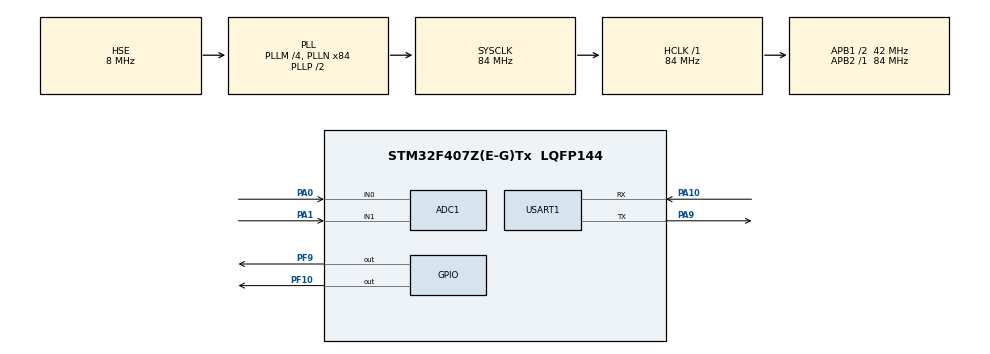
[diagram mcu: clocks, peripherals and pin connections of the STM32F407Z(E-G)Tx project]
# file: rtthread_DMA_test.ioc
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ADC1.Channel-0\#ChannelRegularConversion=ADC_CHANNEL_0
ADC1.Channel-1\#ChannelRegularConversion=ADC_CHANNEL_1
ADC1.ContinuousConvMode=ENABLE
ADC1.DMAContinuousRequests=ENABLE
ADC1.EOCSelection=ADC_EOC_SEQ_CONV
ADC1.NbrOfConversion=2
ADC1.NbrOfConversionFlag=1
ADC1.Rank-0\#ChannelRegularConversion=1
ADC1.Rank-1\#ChannelRegularConversion=2
ADC1.SamplingTime-0\#ChannelRegularConversion=ADC_SAMPLETIME_3CYCLES
ADC1.SamplingTime-1\#ChannelRegularConversion=ADC_SAMPLETIME_3CYCLES
ADC1.ScanConvMode=ENABLE
ADC1.master=1
Dma.ADC1.0.Direction=DMA_PERIPH_TO_MEMORY
Dma.ADC1.0.FIFOMode=DMA_FIFOMODE_DISABLE
Dma.ADC1.0.Instance=DMA2_Stream0
Dma.ADC1.0.MemDataAlignment=DMA_MDATAALIGN_WORD
Dma.ADC1.0.MemInc=DMA_MINC_ENABLE
Dma.ADC1.0.Mode=DMA_NORMAL
Dma.ADC1.0.PeriphDataAlignment=DMA_PDATAALIGN_WORD
Dma.ADC1.0.PeriphInc=DMA_PINC_DISABLE
Dma.ADC1.0.Priority=DMA_PRIORITY_LOW
Dma.Request0=ADC1
Dma.Request1=USART1_RX
Dma.USART1_RX.1.Direction=DMA_PERIPH_TO_MEMORY
Dma.USART1_RX.1.FIFOMode=DMA_FIFOMODE_DISABLE
Dma.USART1_RX.1.Instance=DMA2_Stream2
Dma.USART1_RX.1.MemDataAlignment=DMA_MDATAALIGN_BYTE
Dma.USART1_RX.1.MemInc=DMA_MINC_ENABLE
Dma.USART1_RX.1.Mode=DMA_CIRCULAR
Dma.USART1_RX.1.PeriphDataAlignment=DMA_PDATAALIGN_BYTE
Dma.USART1_RX.1.PeriphInc=DMA_PINC_DISABLE
Dma.USART1_RX.1.Priority=DMA_PRIORITY_LOW
Mcu.Family=STM32F4
Mcu.Name=STM32F407Z(E-G)Tx
Mcu.Package=LQFP144
NVIC.ADC_IRQn=true\:0\:0\:false\:false\:true\:true\:true
NVIC.DMA2_Stream0_IRQn=true\:0\:0\:false\:false\:true\:false\:true
NVIC.DMA2_Stream2_IRQn=true\:0\:0\:false\:false\:true\:false\:true
NVIC.PriorityGroup=NVIC_PRIORITYGROUP_4
NVIC.USART1_IRQn=true\:0\:0\:false\:false\:true\:true\:true
PA0-WKUP.Signal=ADCx_IN0
PA1.Signal=ADCx_IN1
PA10.Mode=Asynchronous
PA10.Signal=USART1_RX
PA9.Mode=Asynchronous
PA9.Signal=USART1_TX
PC14-OSC32_IN.Mode=LSE-External-Oscillator
PC14-OSC32_IN.Signal=RCC_OSC32_IN
PC15-OSC32_OUT.Mode=LSE-External-Oscillator
PC15-OSC32_OUT.Signal=RCC_OSC32_OUT
PF10.Signal=GPIO_Output
PF9.Signal=GPIO_Output
PH0-OSC_IN.Mode=HSE-External-Oscillator
PH0-OSC_IN.Signal=RCC_OSC_IN
PH1-OSC_OUT.Mode=HSE-External-Oscillator
PH1-OSC_OUT.Signal=RCC_OSC_OUT
ProjectManager.HeapSize=0x200
ProjectManager.StackSize=0x400
ProjectManager.TargetToolchain=MDK-ARM V5.27
RCC.48MHZClocksFreq_Value=42000000
RCC.AHBFreq_Value=84000000
RCC.APB1CLKDivider=RCC_HCLK_DIV2
RCC.APB1Freq_Value=42000000
RCC.APB1TimFreq_Value=84000000
RCC.APB2Freq_Value=84000000
RCC.APB2TimFreq_Value=84000000
RCC.CortexFreq_Value=84000000
RCC.HCLKFreq_Value=84000000
RCC.HSE_VALUE=8000000
RCC.HSI_VALUE=16000000
RCC.PLLM=4
RCC.PLLN=84
RCC.PLLSourceVirtual=RCC_PLLSOURCE_HSE
RCC.SYSCLKFreq_VALUE=84000000
RCC.SYSCLKSource=RCC_SYSCLKSOURCE_PLLCLK
RCC.VCOOutputFreq_Value=168000000
SH.ADCx_IN0.0=ADC1_IN0,IN0
SH.ADCx_IN1.0=ADC1_IN1,IN1
USART1.VirtualMode=VM_ASYNC
board=custom

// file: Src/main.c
/* USER CODE BEGIN Header */
/**
  ******************************************************************************
  * @file           : main.c
  * @brief          : Main program body
  ******************************************************************************
  * @attention
  *
  * <h2><center>&copy; Copyright (c) 2020 STMicroelectronics.
  * All rights reserved.</center></h2>
  *
  * This software component is licensed by ST under BSD 3-Clause license,
  * the "License"; You may not use this file except in compliance with the
  * License. You may obtain a copy of the License at:
  *                        opensource.org/licenses/BSD-3-Clause
  *
  ******************************************************************************
  */
/* USER CODE END Header */

#include "main.h"
#include "adc.h"
#include "dma.h"
#include "usart.h"
#include "gpio.h"

/* USER CODE BEGIN PV */
uint32_t ADC_IN[2] = {0};
uint8_t testUsartBuf[20] = {0};

rt_thread_t Adc_testThread;

/* USER CODE END PV */

void SystemClock_Config(void);
/* USER CODE BEGIN PFP */
void AdcTestThread_Func(void *p_arg);
/* USER CODE END PFP */

int main(void)
{

  /* MCU Configuration--------------------------------------------------------*/

  /* Reset of all peripherals, Initializes the Flash interface and the Systick. */
  HAL_Init();

  /* Configure the system clock */
  SystemClock_Config();

  /* Initialize all configured peripherals */
  MX_GPIO_Init();
  MX_DMA_Init();
  MX_ADC1_Init();
  MX_USART1_UART_Init();
  /* USER CODE BEGIN 2 */
	//HAL_ADC_Start_IT(&hadc1);
	//HAL_ADC_Start_DMA(&hadc1, ADC_IN, 2);
	//HAL_UART_Receive_DMA(&huart1, testUsartBuf, 20);
	Adc_testThread = rt_thread_create("adc",
																		AdcTestThread_Func,
																		RT_NULL,
																		128,
																		2,
																		100);
	rt_thread_startup(Adc_testThread);
  /* USER CODE END 2 */

  /* Infinite loop */
  /* USER CODE BEGIN WHILE */
  while (1)
  {
		TOG_LED(0);
		rt_thread_mdelay(500);
    /* USER CODE END WHILE */

  }
}

void SystemClock_Config(void)
{
  RCC_OscInitTypeDef RCC_OscInitStruct = {0};
  RCC_ClkInitTypeDef RCC_ClkInitStruct = {0};

  /** Configure the main internal regulator output voltage
  */
  __HAL_RCC_PWR_CLK_ENABLE();
  __HAL_PWR_VOLTAGESCALING_CONFIG(PWR_REGULATOR_VOLTAGE_SCALE1);
  /** Initializes the CPU, AHB and APB busses clocks
  */
  RCC_OscInitStruct.OscillatorType = RCC_OSCILLATORTYPE_HSE;
  RCC_OscInitStruct.HSEState = RCC_HSE_ON;
  RCC_OscInitStruct.PLL.PLLState = RCC_PLL_ON;
  RCC_OscInitStruct.PLL.PLLSource = RCC_PLLSOURCE_HSE;
  RCC_OscInitStruct.PLL.PLLM = 4;
  RCC_OscInitStruct.PLL.PLLN = 84;
  RCC_OscInitStruct.PLL.PLLP = RCC_PLLP_DIV2;
  RCC_OscInitStruct.PLL.PLLQ = 4;
  if (HAL_RCC_OscConfig(&RCC_OscInitStruct) != HAL_OK)
  {
    Error_Handler();
  }
  /** Initializes the CPU, AHB and APB busses clocks
  */
  RCC_ClkInitStruct.ClockType = RCC_CLOCKTYPE_HCLK|RCC_CLOCKTYPE_SYSCLK
                              |RCC_CLOCKTYPE_PCLK1|RCC_CLOCKTYPE_PCLK2;
  RCC_ClkInitStruct.SYSCLKSource = RCC_SYSCLKSOURCE_PLLCLK;
  RCC_ClkInitStruct.AHBCLKDivider = RCC_SYSCLK_DIV1;
  RCC_ClkInitStruct.APB1CLKDivider = RCC_HCLK_DIV2;
  RCC_ClkInitStruct.APB2CLKDivider = RCC_HCLK_DIV1;

  if (HAL_RCC_ClockConfig(&RCC_ClkInitStruct, FLASH_LATENCY_2) != HAL_OK)
  {
    Error_Handler();
  }
}

/* USER CODE BEGIN 4 */
void AdcTestThread_Func(void *p_arg)
{
	uint32_t cnt = 0;
	while(1){
		cnt++;
		if(cnt > 5)
		{
			cnt = 0;
			HAL_ADC_Start_DMA(&hadc1, ADC_IN, 2);
		}
		TOG_LED(1);
		rt_thread_mdelay(10);
	}
}
/* USER CODE END 4 */

void Error_Handler(void)
{
}

/************************ (C) COPYRIGHT STMicroelectronics *****END OF FILE****/
